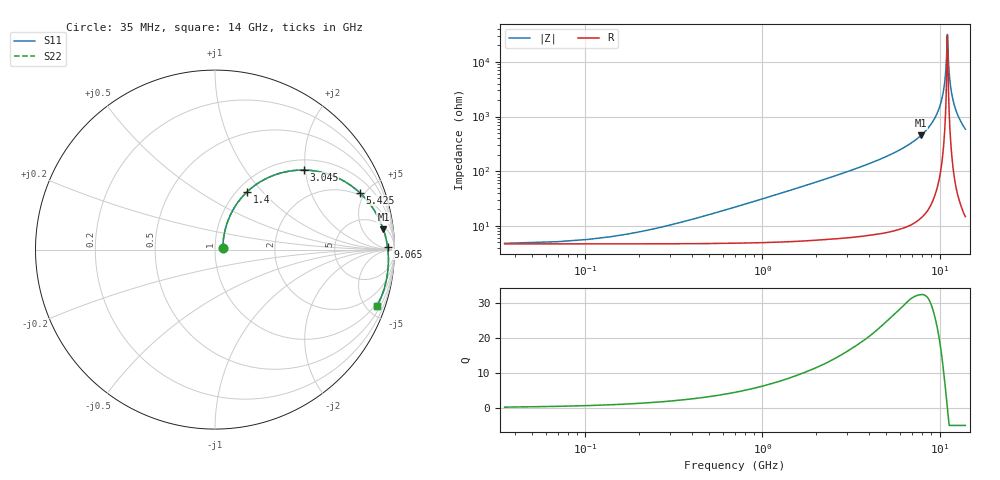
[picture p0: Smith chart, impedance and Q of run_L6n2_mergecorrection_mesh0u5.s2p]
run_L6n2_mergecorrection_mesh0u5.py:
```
########################################################################
#
# Copyright 2025 Volker Muehlhaus and IHP PDK Authors
#
# Licensed under the GNU General Public License, Version 3.0 (the "License");
# you may not use this file except in compliance with the License.
# You may obtain a copy of the License at
#
#    https://www.gnu.org/licenses/gpl-3.0
#
# Unless required by applicable law or agreed to in writing, software
# distributed under the License is distributed on an "AS IS" BASIS,
# WITHOUT WARRANTIES OR CONDITIONS OF ANY KIND, either express or implied.
# See the License for the specific language governing permissions and
# limitations under the License.
#
########################################################################

import os

from gds2openEMS import *

from openEMS import openEMS
import numpy as np


# Model comments
#
# This is a generic model running port excitation for all ports defined below,
# to get full [S] matrix data.
# Output is stored to Touchstone S-parameter file.
# No data plots are created by this script.
#
# This model uses the settings{} dictionary syntax and the gds2openEMS PyPI package
# (pip install gds2openEMS) instead of a local copy of the modules folder - see the
# README for the loose-variable / local-modules-copy alternative, still fully supported.


# ======================== workflow settings ================================

settings = {}

settings['preview_only'] = False  # preview model/mesh only?
settings['no_gui'] = False # if set to True, there is no mesh/model preview in AppCSXCAD, and simulation starts immediately.

settings['numthreads'] = 0 # run on xx cores, changes to 0 for automatic detection by openEMS


# ===================== input files and path settings =======================

gds_filename = "L6n2_with_ports.gds"   # geometries
XML_filename = "openEMS_SG13G2_200um.xml"          # stackup

# merge via polygons with distance less than .. microns, set to 0 to disable via merging.
settings['merge_polygon_size'] = 2
settings['fill_factor_correction'] = True

settings['preprocess_gds'] = False # preprocessing is no longer required

# get path for this simulation file
script_path = utilities.get_script_path(__file__)
# use script filename as model basename
model_basename = utilities.get_basename(__file__)
# set and create directory for simulation output
sim_path = utilities.create_sim_path (script_path,model_basename)
print('Simulation data directory: ', sim_path)
# change current path to model script path
os.chdir(os.path.dirname(os.path.abspath(__file__)))

# ======================== simulation settings ================================

settings['unit']   = 1e-6  # geometry is in microns
settings['margin'] = 250    # distance in microns from GDSII geometry boundary to simulation boundary
settings['air_around'] = 800   # air beyond the margin on all six sides: the box of the README's first step

settings['fstart']  = 0e9
settings['fstop']   = 14e9
settings['numfreq'] = 401

settings['refined_cellsize'] = 0.5 # mesh cell size in conductor region

# choices for boundary:
# 'PEC' : perfect electric conductor (default)
# 'PMC' : perfect magnetic conductor, useful for symmetries
# 'MUR' : simple MUR absorbing boundary conditions
# 'PML_8' : PML absorbing boundary conditions
settings['Boundaries'] = ['PEC', 'PEC', 'PEC', 'PEC', 'PEC', 'PEC']

settings['cells_per_wavelength'] = 20   # how many mesh cells per wavelength, must be 10 or more
settings['energy_limit'] = -60          # end criteria for residual energy (dB)

# port configuration, port geometry is read from GDSII file on the specified layer
simulation_ports = simulation_setup.all_simulation_ports()

# in-plane port is specified with target_layername= and direction x or y
# via port is specified with from_layername= and to_layername= and direction z
simulation_ports.add_port(simulation_setup.simulation_port(portnumber=1, 
                                                           voltage=1, 
                                                           port_Z0=50, 
                                                           source_layernum=201, 
                                                           from_layername='SUBGND', 
                                                           to_layername='TopMetal1', 
                                                           direction='z'))

simulation_ports.add_port(simulation_setup.simulation_port(portnumber=2, 
                                                           voltage=1, 
                                                           port_Z0=50, 
                                                           source_layernum=202, 
                                                           from_layername='SUBGND', 
                                                           to_layername='TopMetal1', 
                                                           direction='z'))

# ======================== simulation ================================

# get technology stackup data
materials_list, dielectrics_list, metals_list = stackup_reader.read_substrate (XML_filename)
# get list of layers from technology
layernumbers = metals_list.getlayernumbers()
# we must also read the layers where we added ports, these are not included in technology layers
layernumbers.extend(simulation_ports.portlayers)

# read geometries from GDSII, only purpose 0
allpolygons = gds_reader.read_gds(gds_filename,
                                  layernumbers,
                                  purposelist=[0],
                                  metals_list=metals_list,
                                  preprocess=settings['preprocess_gds'],
                                  merge_polygon_size=settings['merge_polygon_size'])

# maximum cellsize is calculated inside setupSimulation when using settings dictionary

# define excitation and stop criteria and boundaries
FDTD = openEMS(EndCriteria=np.exp(settings['energy_limit']/10 * np.log(10)))
FDTD.SetGaussExcite( (settings['fstart']+settings['fstop'])/2, (settings['fstop']-settings['fstart'])/2 )
FDTD.SetBoundaryCond( settings['Boundaries'] )

settings['simulation_ports'] = simulation_ports
settings['materials_list'] = materials_list
settings['dielectrics_list'] = dielectrics_list
settings['metals_list'] = metals_list
settings['layernumbers'] = layernumbers
settings['allpolygons'] = allpolygons
settings['sim_path'] = sim_path
settings['model_basename'] = model_basename


########### create model, run and post-process ###########

# run all active port excitations, one after another. Ports with voltage=0 are skipped here -
# their S-parameters are left out of the result, see the FAQ in the user's guide.

for excite_portnumbers in simulation_ports.all_active_excitations():
    settings['excite_portnumbers'] = excite_portnumbers

    simulation_setup.setupSimulation (FDTD=FDTD, settings=settings)  # must use named parameters when using settings dict!
    simulation_setup.runSimulation   (FDTD=FDTD, settings=settings)  # must use named parameters when using settings dict!


# Initialize an empty matrix for S-parameters
num_ports = simulation_ports.portcount
s_params = np.empty((num_ports, num_ports, settings['numfreq']), dtype=object)

# Define frequency resolution. Due to FFT from Empire time domain results,
# this is postprocessing and we can change it again at any time.
f = np.linspace(settings['fstart'],settings['fstop'],settings['numfreq'])

# Populate the S-parameter matrix with simulation results
for i in range(1, num_ports + 1):
    for j in range(1, num_ports + 1):
        s_params[i-1, j-1] = utilities.calculate_Sij(i, j, f, sim_path, simulation_ports)

# Write to Touchstone *.snp file
snp_name = os.path.join(sim_path, model_basename + '.s' + str(num_ports) + 'p')
utilities.write_snp(s_params, f, snp_name, z0=simulation_ports.get_reference_impedance())

print('Created S-parameter output file at ', snp_name)
```
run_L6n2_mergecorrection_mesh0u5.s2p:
#  Hz  S  RI  R  50
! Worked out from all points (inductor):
!   400 points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, 35 MHz to 14 GHz, reference 50 ohm
!   read as one part in series: L = 4.87 nH near 490 MHz
!   highest Q = 32.4 at 7.875 GHz (marker M1), where L = 9.16 nH
!   self-resonance near 11.06 GHz
!   S11 on the Smith chart (normalised r, x): 35 MHz: 1.09, +0.02; 1.4 GHz: 1.11, +0.83; 3.045 GHz: 1.24, +1.96; 5.425 GHz: 1.80, +4.59; 9.065 GHz: 42, +19; 14 GHz: 0.79, -5.76
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3.5e7  0.0433 0.00916  0.9536 -0.0105  0.9536 -0.0105  0.0433 0.00916
1.4e9  0.1792 0.3222  0.7999 -0.3479  0.7999 -0.3479  0.1791 0.3221
3.045e9  0.4937 0.4432  0.4818 -0.4848  0.4818 -0.4848  0.4936 0.4432
5.425e9  0.8061 0.3174  0.1666 -0.3848  0.1666 -0.3848  0.806 0.3174
7.035e9  0.9082 0.1829  0.0624 -0.2686  0.0624 -0.2686  0.9082 0.1829
7.875e9  0.9383 0.1125  0.0312 -0.208  0.0312 -0.208  0.9382 0.1126
9.065e9  0.9611 0.0167  0.00655 -0.1258  0.00655 -0.1258  0.961 0.0168
1.0535e10  0.9651 -0.0938  -5.6e-05 -0.0325  -5.61e-05 -0.0325  0.9651 -0.0937
1.1095e10  0.9612 -0.1334  0.003 0.000562  0.003 0.000561  0.9611 -0.1333
1.1795e10  0.9524 -0.1811  0.0103 0.0398  0.0103 0.0398  0.9524 -0.181
1.4e10  0.9016 -0.3168  0.0559 0.1495  0.0559 0.1495  0.9017 -0.3166
